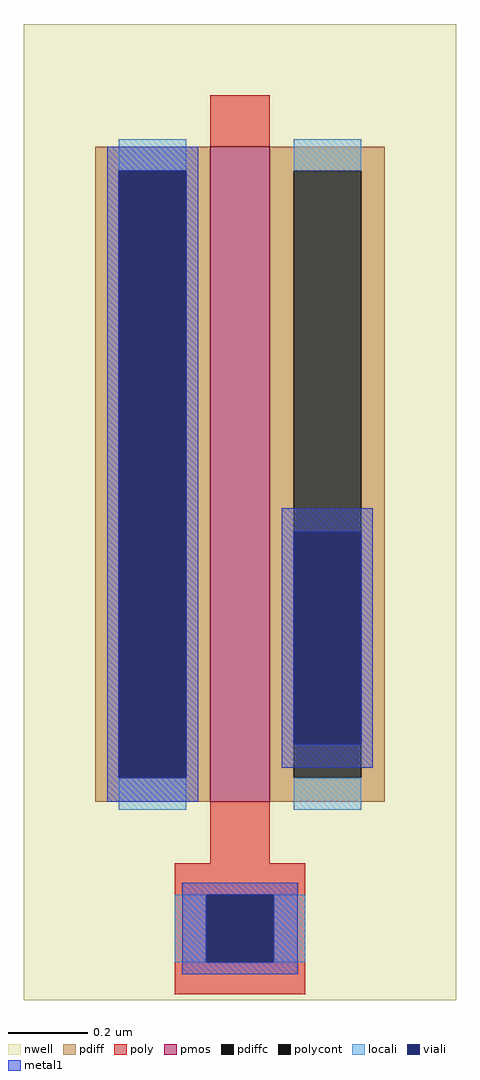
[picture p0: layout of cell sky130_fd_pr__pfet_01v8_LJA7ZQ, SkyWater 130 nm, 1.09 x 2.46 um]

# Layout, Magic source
magic
tech sky130A
magscale 1 2
<< nwell >>
rect -109 -229 109 263
<< pmos >>
rect -15 -129 15 201
<< pdiff >>
rect -73 189 -15 201
rect -73 -117 -61 189
rect -27 -117 -15 189
rect -73 -129 -15 -117
rect 15 189 73 201
rect 15 -117 27 189
rect 61 -117 73 189
rect 15 -129 73 -117
<< pdiffc >>
rect -61 -117 -27 189
rect 27 -117 61 189
<< poly >>
rect -15 201 15 227
rect -15 -160 15 -129
rect -33 -176 33 -160
rect -33 -210 -17 -176
rect 17 -210 33 -176
rect -33 -226 33 -210
<< polycont >>
rect -17 -210 17 -176
<< locali >>
rect -61 189 -27 205
rect -61 -133 -27 -117
rect 27 189 61 205
rect 27 -133 61 -117
rect -33 -210 -17 -176
rect 17 -210 33 -176
<< viali >>
rect -61 -117 -27 189
rect 27 -100 61 7
rect -17 -210 17 -176
<< metal1 >>
rect -67 189 -21 201
rect -67 -117 -61 189
rect -27 -117 -21 189
rect 21 7 67 19
rect 21 -100 27 7
rect 61 -100 67 7
rect 21 -112 67 -100
rect -67 -129 -21 -117
rect -29 -176 29 -170
rect -29 -210 -17 -176
rect 17 -210 29 -176
rect -29 -216 29 -210
<< properties >>
string gencell sky130_fd_pr__pfet_01v8
string library sky130
string parameters w 1.65 l 0.15 m 1 nf 1 diffcov 100 polycov 100 guard 0 glc 1 grc 1 gtc 1 gbc 1 tbcov 100 rlcov 100 topc 0 botc 1 poverlap 0 doverlap 1 lmin 0.15 wmin 0.42 compatible {sky130_fd_pr__pfet_01v8  sky130_fd_pr__pfet_01v8_lvt sky130_fd_pr__pfet_01v8_hvt  sky130_fd_pr__pfet_g5v0d10v5} full_metal 0 viasrc +35 viadrn 100 viagate 100 viagb 0 viagr 0 viagl 0 viagt 0
<< end >>
